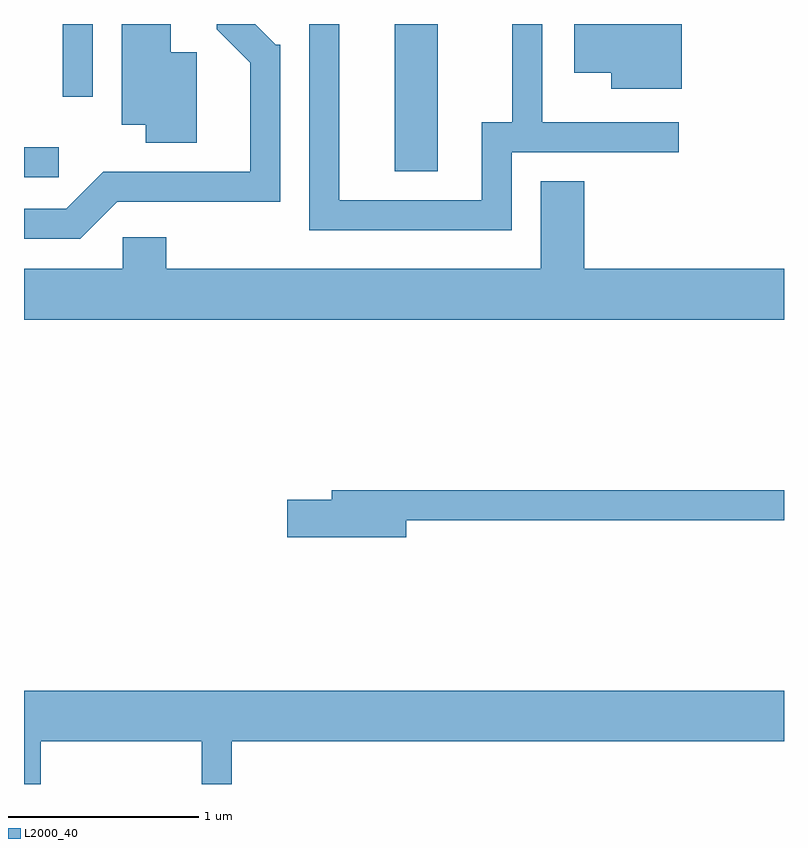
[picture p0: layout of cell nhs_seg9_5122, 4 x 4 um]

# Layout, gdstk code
import gdstk
lib = gdstk.Library(unit=1e-6, precision=1e-09)
def R(c, l, rs):  # rectangles x0, y0, x1, y1
    for r in rs: c.add(gdstk.rectangle(r[:2], r[2:], *l))
def P(c, l, *ps):  # polygons
    for p in ps: c.add(gdstk.Polygon(p, *l))
L2000_40 = (2000, 40)

nhs_seg9_5122 = lib.new_cell('nhs_seg9_5122')
R(nhs_seg9_5122, L2000_40, [(335.611,2043.626,335.793,2043.784), (337.561,2043.656,337.789,2044.432), (335.816,2044.048,335.974,2044.432)])
P(nhs_seg9_5122, L2000_40, [(336.519,2044.284),(336.384,2044.284),(336.384,2044.432),(336.126,2044.432),(336.126,2043.901),(336.251,2043.901),(336.251,2043.806),(336.519,2043.806)],
  [(336.102,2043.496),(336.959,2043.496),(336.959,2044.324),(336.937,2044.324),(336.829,2044.432),(336.626,2044.432),(336.626,2044.404),(336.801,2044.229),(336.801,2043.654),(336.029,2043.654),(335.834,2043.459),(335.611,2043.459),(335.611,2043.301),(335.907,2043.301)],
  [(338.179,2043.756),(339.058,2043.756),(339.058,2043.914),(338.339,2043.914),(338.339,2044.432),(338.181,2044.432),(338.181,2043.914),(338.021,2043.914),(338.021,2043.504),(337.269,2043.504),(337.269,2044.432),(337.111,2044.432),(337.111,2043.346),(338.179,2043.346)],
  [(339.074,2044.432),(338.506,2044.432),(338.506,2044.176),(338.701,2044.176),(338.701,2044.091),(339.074,2044.091)],
  [(339.611,2043.144),(338.559,2043.144),(338.559,2043.604),(338.331,2043.604),(338.331,2043.144),(336.359,2043.144),(336.359,2043.309),(336.131,2043.309),(336.131,2043.144),(335.611,2043.144),(335.611,2042.876),(339.611,2042.876)],
  [(337.624,2041.821),(339.611,2041.821),(339.611,2041.979),(337.231,2041.979),(337.231,2041.929),(336.996,2041.929),(336.996,2041.731),(337.624,2041.731)],
  [(335.699,2040.656),(336.546,2040.656),(336.546,2040.432),(336.704,2040.432),(336.704,2040.656),(339.611,2040.656),(339.611,2040.924),(335.611,2040.924),(335.611,2040.432),(335.699,2040.432)])

lib.write_gds('nhs_seg9_5122.gds')
